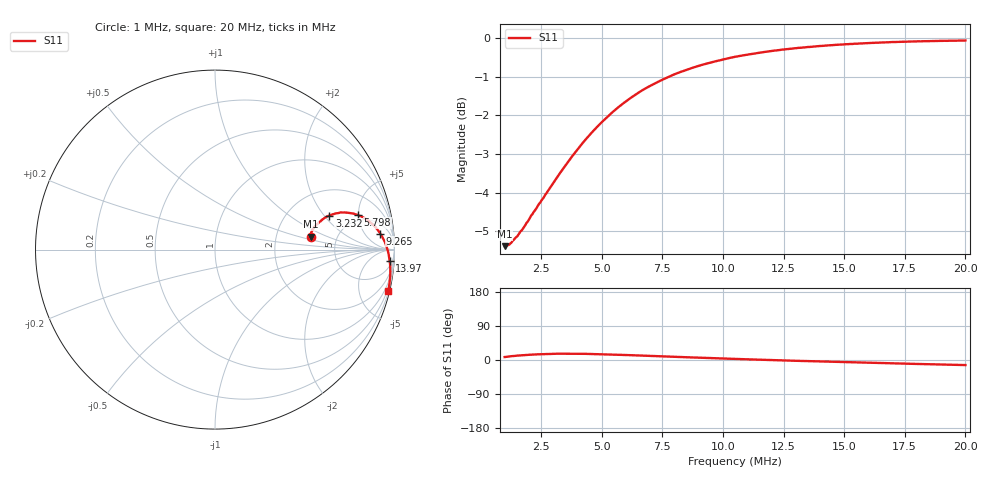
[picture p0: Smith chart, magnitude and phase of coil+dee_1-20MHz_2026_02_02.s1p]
# HZ S RI R 50
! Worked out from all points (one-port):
!   401 points, 1 MHz to 20 MHz, reference 50 ohm
!   lowest |S11| = -5.4 dB at 1 MHz (marker M1), VSWR 3.33, Z = 159 + j32.6 ohm
!   |S11| at or under -10 dB: nowhere
!   S11 on the Smith chart (normalised r, x): 1 MHz: 3.18, +0.65; 3.232 MHz: 3.33, +2.27; 5.798 MHz: 4.18, +4.88; 9.265 MHz: 10, +13; 13.97 MHz: 10, -26; 20 MHz: 0.28, -8.52
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1000000  0.5333 0.0728
1142500  0.5332 0.0842
1285000  0.5356 0.095
1522500  0.543 0.1112
1807500  0.5555 0.1285
2235000  0.5783 0.1505
2710000  0.605 0.1723
2995000  0.6223 0.1829
3232500  0.6375 0.1899
3375000  0.647 0.1927
3707500  0.6683 0.2006
4135000  0.6962 0.2063
4467500  0.7175 0.2073
5037500  0.7529 0.2033
5750000  0.7931 0.194
5797500  0.7955 0.1929
6320000  0.8216 0.1813
6842500  0.845 0.1678
7507500  0.8705 0.1477
8125000  0.8912 0.1276
9265000  0.9208 0.0893
1.05e7  0.9441 0.0469
1.164e7  0.9581 0.00878
1.2875e7  0.9684 -0.0312
1.39675e7  0.9738 -0.0651
1.525e7  0.9767 -0.1033
1.7625e7  0.9745 -0.1691
2e7  0.9655 -0.2294
